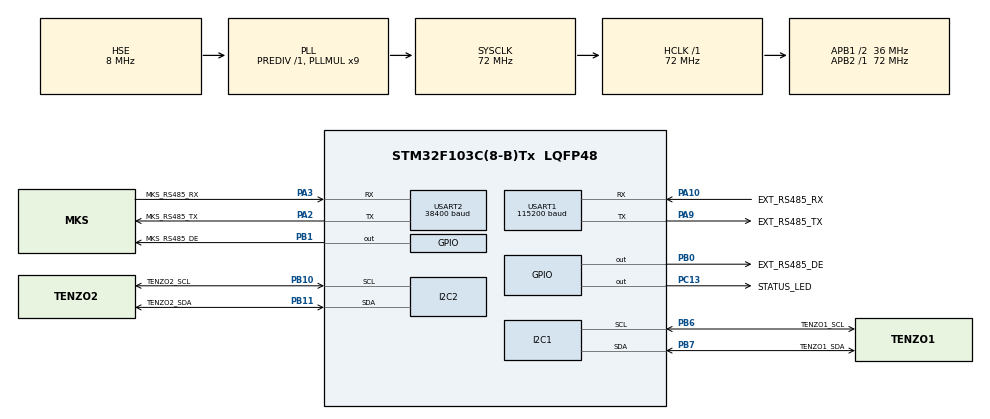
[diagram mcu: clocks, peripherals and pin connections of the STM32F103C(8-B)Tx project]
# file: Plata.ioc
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Mcu.Family=STM32F1
Mcu.Name=STM32F103C(8-B)Tx
Mcu.Package=LQFP48
NVIC.PriorityGroup=NVIC_PRIORITYGROUP_4
NVIC.USART1_IRQn=true\:0\:0\:false\:false\:true\:true\:true\:true
NVIC.USART2_IRQn=true\:0\:0\:false\:false\:true\:true\:true\:true
PA10.GPIO_Label=EXT_RS485_RX
PA10.Mode=Asynchronous
PA10.Signal=USART1_RX
PA2.GPIO_Label=MKS_RS485_TX
PA2.Mode=Asynchronous
PA2.Signal=USART2_TX
PA3.GPIO_Label=MKS_RS485_RX
PA3.Mode=Asynchronous
PA3.Signal=USART2_RX
PA9.GPIO_Label=EXT_RS485_TX
PA9.Mode=Asynchronous
PA9.Signal=USART1_TX
PB0.GPIO_Label=EXT_RS485_DE
PB0.Signal=GPIO_Output
PB1.GPIO_Label=MKS_RS485_DE
PB1.Signal=GPIO_Output
PB10.GPIO_Label=TENZO2_SCL
PB10.Mode=I2C
PB10.Signal=I2C2_SCL
PB11.GPIO_Label=TENZO2_SDA
PB11.Mode=I2C
PB11.Signal=I2C2_SDA
PB6.GPIO_Label=TENZO1_SCL
PB6.Mode=I2C
PB6.Signal=I2C1_SCL
PB7.GPIO_Label=TENZO1_SDA
PB7.Mode=I2C
PB7.Signal=I2C1_SDA
PC13-TAMPER-RTC.GPIO_Label=STATUS_LED
PC13-TAMPER-RTC.PinState=GPIO_PIN_SET
PC13-TAMPER-RTC.Signal=GPIO_Output
PD0-OSC_IN.Mode=HSE-External-Oscillator
PD0-OSC_IN.Signal=RCC_OSC_IN
PD1-OSC_OUT.Mode=HSE-External-Oscillator
PD1-OSC_OUT.Signal=RCC_OSC_OUT
ProjectManager.HeapSize=0x200
ProjectManager.StackSize=0x400
ProjectManager.TargetToolchain=STM32CubeIDE
RCC.AHBFreq_Value=72000000
RCC.APB1CLKDivider=RCC_HCLK_DIV2
RCC.APB1Freq_Value=36000000
RCC.APB1TimFreq_Value=72000000
RCC.APB2Freq_Value=72000000
RCC.APB2TimFreq_Value=72000000
RCC.HCLKFreq_Value=72000000
RCC.PLLMUL=RCC_PLL_MUL9
RCC.PLLSourceVirtual=RCC_PLLSOURCE_HSE
RCC.SYSCLKFreq_VALUE=72000000
RCC.SYSCLKSource=RCC_SYSCLKSOURCE_PLLCLK
RCC.USBFreq_Value=72000000
USART1.BaudRate=115200
USART1.VirtualMode=VM_ASYNC
USART2.BaudRate=38400
USART2.VirtualMode=VM_ASYNC
board=custom

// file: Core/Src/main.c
/* USER CODE BEGIN Header */
/**
  ******************************************************************************
  * @file           : main.c
  * @brief          : Основной файл программы
  ******************************************************************************
  * @attention
  *
  * Copyright (c) 2026 STMicroelectronics.
  * All rights reserved.
  *
  * This software is licensed under terms that can be found in the LICENSE file
  * in the root directory of this software component.
  * If no LICENSE file comes with this software, it is provided AS-IS.
  *
  ******************************************************************************
  */
/* USER CODE END Header */
/*
 * main.c — точка входа проекта Plata.
 *
 * Здесь выполняется:
 *   - инициализация HAL и тактирования 72 МГц (с fallback на HSE/HSI);
 *   - инициализация I2C1/I2C2, USART1/USART2 и GPIO;
 *   - настройка RS485 для внешнего терминала;
 *   - запуск приложения App_Init() и главный цикл App_Loop().
 *
 * Файл частично сгенерирован CubeMX. Пользовательский код находится
 * в секциях USER CODE BEGIN/END — при повторной генерации они сохраняются.
 */
#include "main.h"

/* USER CODE BEGIN Includes */
#include "plata.h"
/* USER CODE END Includes */

I2C_HandleTypeDef hi2c1;
I2C_HandleTypeDef hi2c2;

UART_HandleTypeDef huart1;
UART_HandleTypeDef huart2;

/* Настройка тактирования:
 *   1) HSE 8 МГц + PLL x9 = 72 МГц (основной вариант);
 *   2) HSE 8 МГц напрямую;
 *   3) HSI 8 МГц напрямую.
 * Fallback нужен для клонов STM32F103 с нестабильным кварцем. */
void SystemClock_Config(void);
/* Инициализация GPIO: светодиод PC13 и пины DE/RE обоих RS485. */
static void MX_GPIO_Init(void);
/* Инициализация I2C1 (NAU7802 №1), 100 кГц. */
static void MX_I2C1_Init(void);
/* Инициализация I2C2 (NAU7802 №2), 100 кГц. */
static void MX_I2C2_Init(void);
/* Инициализация USART1: внешний RS485, 115200 8N1. */
static void MX_USART1_UART_Init(void);
/* Инициализация USART2: MKS SERVO42D, 38400 8N1. */
static void MX_USART2_UART_Init(void);

/**
  * @brief  Точка входа приложения.
  * @retval int
  */
/* Главная функция: инициализация периферии и вечный цикл приложения. */
int main(void)
{

  /* MCU Configuration--------------------------------------------------------*/

  /* Сброс периферии, инициализация Flash-интерфейса и SysTick. */
  /* HAL_Init(): сброс периферии, настройка SysTick и Flash-интерфейса. */
  HAL_Init();

  /* Настройка системного тактирования. */
  /* 72 МГц через HSE+PLL, с fallback на HSE/HSI. */
  SystemClock_Config();

  /* Инициализация всех настроенных периферийных блоков. */
  /* Сначала GPIO: светодиод и DE/RE обоих RS485. */
  MX_GPIO_Init();
  /* I2C1 — первый NAU7802. */
  MX_I2C1_Init();
  /* I2C2 — второй NAU7802 (сейчас не подключён). */
  MX_I2C2_Init();
  /* USART1 — внешний RS485/CLI, 115200. */
  MX_USART1_UART_Init();
  /* USART2 — MKS SERVO42D, 38400. */
  MX_USART2_UART_Init();
  /* USER CODE BEGIN 2 */
  /* Запоминаем внешний UART и переводим его DE/RE в приём. */
  RS485_ExtInit(&huart1);
  /* Инициализация прикладного слоя: датчики, мотор, демо, CLI. */
  App_Init(&hi2c1, &hi2c2, &huart1, &huart2);
  /* USER CODE END 2 */

  /* Бесконечный цикл приложения. */
  while (1)
  {

    /* USER CODE BEGIN 3 */
    /* Внутри: JOG-автостоп, демо, потоки, CLI, LED. */
    App_Loop();
  }
  /* USER CODE END 3 */
}

/**
  * @brief Настройка системного тактирования
  * @retval Нет
  */
void SystemClock_Config(void)
{
  RCC_OscInitTypeDef RCC_OscInitStruct = {0};
  RCC_ClkInitTypeDef RCC_ClkInitStruct = {0};

  /*
   * 1. Основной вариант: HSE 8 МГц + PLL x9 = 72 МГц.
   * 2. Если HSE/PLL не запустились: HSE 8 МГц напрямую.
   * 3. Если HSE нет: HSI 8 МГц напрямую.
   *
   * Fallback важен для клонов F103C8T6 с нестабильным кварцем.
   */
  /* Основной вариант: HSE 8 МГц, PLL ×9 = 72 МГц. */
  RCC_OscInitStruct.OscillatorType = RCC_OSCILLATORTYPE_HSE;
  RCC_OscInitStruct.HSEState = RCC_HSE_ON;
  RCC_OscInitStruct.HSEPredivValue = RCC_HSE_PREDIV_DIV1;
  RCC_OscInitStruct.HSIState = RCC_HSI_ON;
  RCC_OscInitStruct.PLL.PLLState = RCC_PLL_ON;
  RCC_OscInitStruct.PLL.PLLSource = RCC_PLLSOURCE_HSE;
  RCC_OscInitStruct.PLL.PLLMUL = RCC_PLL_MUL9;

  /* Если PLL запустился — настраиваем шины и Flash latency.
   * APB1 = 36 МГц (максимум для F103), APB2 = 72 МГц. */
  if (HAL_RCC_OscConfig(&RCC_OscInitStruct) == HAL_OK)
  {
    RCC_ClkInitStruct.ClockType = RCC_CLOCKTYPE_HCLK | RCC_CLOCKTYPE_SYSCLK |
                                  RCC_CLOCKTYPE_PCLK1 | RCC_CLOCKTYPE_PCLK2;
    RCC_ClkInitStruct.SYSCLKSource = RCC_SYSCLKSOURCE_PLLCLK;
    RCC_ClkInitStruct.AHBCLKDivider = RCC_SYSCLK_DIV1;
    RCC_ClkInitStruct.APB1CLKDivider = RCC_HCLK_DIV2;
    RCC_ClkInitStruct.APB2CLKDivider = RCC_HCLK_DIV1;

    if (HAL_RCC_ClockConfig(&RCC_ClkInitStruct, FLASH_LATENCY_2) == HAL_OK)
    {
      return;
    }
  }

  /* Если PLL не запустился, пробуем HSE 8 МГц без PLL. */
  /* Fallback 1: HSE 8 МГц напрямую */
  RCC_OscInitStruct = (RCC_OscInitTypeDef){0};
  RCC_OscInitStruct.OscillatorType = RCC_OSCILLATORTYPE_HSE;
  RCC_OscInitStruct.HSEState = RCC_HSE_ON;
  RCC_OscInitStruct.HSEPredivValue = RCC_HSE_PREDIV_DIV1;
  RCC_OscInitStruct.PLL.PLLState = RCC_PLL_NONE;

  if (HAL_RCC_OscConfig(&RCC_OscInitStruct) == HAL_OK)
  {
    RCC_ClkInitStruct = (RCC_ClkInitTypeDef){0};
    RCC_ClkInitStruct.ClockType = RCC_CLOCKTYPE_HCLK | RCC_CLOCKTYPE_SYSCLK |
                                  RCC_CLOCKTYPE_PCLK1 | RCC_CLOCKTYPE_PCLK2;
    RCC_ClkInitStruct.SYSCLKSource = RCC_SYSCLKSOURCE_HSE;
    RCC_ClkInitStruct.AHBCLKDivider = RCC_SYSCLK_DIV1;
    RCC_ClkInitStruct.APB1CLKDivider = RCC_HCLK_DIV1;
    RCC_ClkInitStruct.APB2CLKDivider = RCC_HCLK_DIV1;

    if (HAL_RCC_ClockConfig(&RCC_ClkInitStruct, FLASH_LATENCY_0) == HAL_OK)
    {
      return;
    }
  }

  /* Последний вариант — внутренний HSI 8 МГц. */
  /* Fallback 2: HSI 8 МГц напрямую */
  RCC_OscInitStruct = (RCC_OscInitTypeDef){0};
  RCC_OscInitStruct.OscillatorType = RCC_OSCILLATORTYPE_HSI;
  RCC_OscInitStruct.HSIState = RCC_HSI_ON;
  RCC_OscInitStruct.PLL.PLLState = RCC_PLL_NONE;

  if (HAL_RCC_OscConfig(&RCC_OscInitStruct) != HAL_OK)
  {
    Error_Handler();
  }

  RCC_ClkInitStruct = (RCC_ClkInitTypeDef){0};
  RCC_ClkInitStruct.ClockType = RCC_CLOCKTYPE_HCLK | RCC_CLOCKTYPE_SYSCLK |
                                RCC_CLOCKTYPE_PCLK1 | RCC_CLOCKTYPE_PCLK2;
  RCC_ClkInitStruct.SYSCLKSource = RCC_SYSCLKSOURCE_HSI;
  RCC_ClkInitStruct.AHBCLKDivider = RCC_SYSCLK_DIV1;
  RCC_ClkInitStruct.APB1CLKDivider = RCC_HCLK_DIV1;
  RCC_ClkInitStruct.APB2CLKDivider = RCC_HCLK_DIV1;

  if (HAL_RCC_ClockConfig(&RCC_ClkInitStruct, FLASH_LATENCY_0) != HAL_OK)
  {
    Error_Handler();
  }
}

/**
  * @brief Инициализация I2C1
  * @param Нет
  * @retval Нет
  */
static void MX_I2C1_Init(void)
{

  hi2c1.Instance = I2C1;
  hi2c1.Init.ClockSpeed = 100000;
  hi2c1.Init.DutyCycle = I2C_DUTYCYCLE_2;
  hi2c1.Init.OwnAddress1 = 0;
  hi2c1.Init.AddressingMode = I2C_ADDRESSINGMODE_7BIT;
  hi2c1.Init.DualAddressMode = I2C_DUALADDRESS_DISABLE;
  hi2c1.Init.OwnAddress2 = 0;
  hi2c1.Init.GeneralCallMode = I2C_GENERALCALL_DISABLE;
  hi2c1.Init.NoStretchMode = I2C_NOSTRETCH_DISABLE;
  if (HAL_I2C_Init(&hi2c1) != HAL_OK)
  {
    Error_Handler();
  }

}

/**
  * @brief Инициализация I2C2
  * @param Нет
  * @retval Нет
  */
static void MX_I2C2_Init(void)
{

  hi2c2.Instance = I2C2;
  hi2c2.Init.ClockSpeed = 100000;
  hi2c2.Init.DutyCycle = I2C_DUTYCYCLE_2;
  hi2c2.Init.OwnAddress1 = 0;
  hi2c2.Init.AddressingMode = I2C_ADDRESSINGMODE_7BIT;
  hi2c2.Init.DualAddressMode = I2C_DUALADDRESS_DISABLE;
  hi2c2.Init.OwnAddress2 = 0;
  hi2c2.Init.GeneralCallMode = I2C_GENERALCALL_DISABLE;
  hi2c2.Init.NoStretchMode = I2C_NOSTRETCH_DISABLE;
  if (HAL_I2C_Init(&hi2c2) != HAL_OK)
  {
    Error_Handler();
  }

}

/**
  * @brief Инициализация USART1
  * @param Нет
  * @retval Нет
  */
static void MX_USART1_UART_Init(void)
{

  huart1.Instance = USART1;
  huart1.Init.BaudRate = 115200;
  huart1.Init.WordLength = UART_WORDLENGTH_8B;
  huart1.Init.StopBits = UART_STOPBITS_1;
  huart1.Init.Parity = UART_PARITY_NONE;
  huart1.Init.Mode = UART_MODE_TX_RX;
  huart1.Init.HwFlowCtl = UART_HWCONTROL_NONE;
  huart1.Init.OverSampling = UART_OVERSAMPLING_16;
  if (HAL_UART_Init(&huart1) != HAL_OK)
  {
    Error_Handler();
  }

}

/**
  * @brief Инициализация USART2
  * @param Нет
  * @retval Нет
  */
static void MX_USART2_UART_Init(void)
{

  huart2.Instance = USART2;
  huart2.Init.BaudRate = 38400;
  huart2.Init.WordLength = UART_WORDLENGTH_8B;
  huart2.Init.StopBits = UART_STOPBITS_1;
  huart2.Init.Parity = UART_PARITY_NONE;
  huart2.Init.Mode = UART_MODE_TX_RX;
  huart2.Init.HwFlowCtl = UART_HWCONTROL_NONE;
  huart2.Init.OverSampling = UART_OVERSAMPLING_16;
  if (HAL_UART_Init(&huart2) != HAL_OK)
  {
    Error_Handler();
  }

}

/**
  * @brief Инициализация GPIO
  * @param Нет
  * @retval Нет
  */
static void MX_GPIO_Init(void)
{
  GPIO_InitTypeDef GPIO_InitStruct = {0};

  /* Включение тактирования портов GPIO. */
  /* Включаем тактирование портов, к которым подключены LED и DE. */
  __HAL_RCC_GPIOC_CLK_ENABLE();
  __HAL_RCC_GPIOD_CLK_ENABLE();
  __HAL_RCC_GPIOA_CLK_ENABLE();
  __HAL_RCC_GPIOB_CLK_ENABLE();

  /* Начальный уровень выходов GPIO. */
  /* PC13 активен низким уровнем: HIGH = светодиод погашен. */
  HAL_GPIO_WritePin(STATUS_LED_GPIO_Port, STATUS_LED_Pin, GPIO_PIN_SET);

  /* Начальный уровень выходов GPIO. */
  /* DE/RE = 0 — оба RS485 в режиме приёма. */
  HAL_GPIO_WritePin(GPIOB, EXT_RS485_DE_Pin|MKS_RS485_DE_Pin, GPIO_PIN_RESET);

  /* Светодиод статуса PC13 — выход push-pull. */
  GPIO_InitStruct.Pin = STATUS_LED_Pin;
  GPIO_InitStruct.Mode = GPIO_MODE_OUTPUT_PP;
  GPIO_InitStruct.Pull = GPIO_NOPULL;
  GPIO_InitStruct.Speed = GPIO_SPEED_FREQ_LOW;
  HAL_GPIO_Init(STATUS_LED_GPIO_Port, &GPIO_InitStruct);

  /* Пины DE/RE внешнего и моторного RS485 — выходы push-pull. */
  GPIO_InitStruct.Pin = EXT_RS485_DE_Pin|MKS_RS485_DE_Pin;
  GPIO_InitStruct.Mode = GPIO_MODE_OUTPUT_PP;
  GPIO_InitStruct.Pull = GPIO_NOPULL;
  GPIO_InitStruct.Speed = GPIO_SPEED_FREQ_LOW;
  HAL_GPIO_Init(GPIOB, &GPIO_InitStruct);

}

/* USER CODE BEGIN 4 */
static UART_HandleTypeDef *ext_uart = NULL;

/* Короткая задержка перед поднятием DE, чтобы передатчик успел
 * переключиться. Реализована через NOP, без блокирующего HAL_Delay. */
static void rs485_de_setup_delay(void)
{
  volatile uint32_t i;

  for (i = 0U; i < 2000U; i++)
  {
    __NOP();
  }
}

/* Запоминает UART внешнего RS485 и переводит DE/RE в приём. */
void RS485_ExtInit(UART_HandleTypeDef *huart)
{
  ext_uart = huart;
  HAL_GPIO_WritePin(EXT_RS485_DE_GPIO_Port, EXT_RS485_DE_Pin, GPIO_PIN_RESET);
}

/* Передача по RS485 с управлением DE/RE:
 *   - для внешнего USART1 на время передачи отключается RX-прерывание,
 *     чтобы приёмник SP3485 не ловил собственный сигнал;
 *   - DE поднимается, данные отправляются, ждём TC, DE опускается. */
HAL_StatusTypeDef RS485_Transmit(UART_HandleTypeDef *huart,
                                 GPIO_TypeDef *de_port,
                                 uint16_t de_pin,
                                 const uint8_t *data,
                                 uint16_t len,
                                 uint32_t timeout)
{
  HAL_StatusTypeDef status;
  uint32_t start;
  /* Для внешнего USART1 нужно на время передачи отключить RX-прерывание:
   * приёмник SP3485 в режиме передачи отключён, и PA10 может «висеть». */
  uint8_t is_ext = (huart != NULL && huart->Instance == USART1) ? 1U : 0U;

  if (huart == NULL || data == NULL || len == 0U)
  {
    return HAL_ERROR;
  }

  /*
   * Внешний RS485: на время передачи отключаем RX-прерывание USART1.
   * Приёмник SP3485 в режиме передачи отключён, поэтому PA10 может «висеть».
   */
  /* Отключаем прерывание приёма только для внешнего RS485. */
  if (is_ext)
  {
    HAL_NVIC_DisableIRQ(USART1_IRQn);
  }

  /* DE=1 — включаем передатчик RS485. */
  HAL_GPIO_WritePin(de_port, de_pin, GPIO_PIN_SET);
  rs485_de_setup_delay(); /* короткая задержка DE, без блокирующего 1 мс */

  /* HAL_UART_Transmit блокирующий: кладёт байты в DR и ждёт отправки. */
  status = HAL_UART_Transmit(huart, (uint8_t *)data, len, timeout);

  start = HAL_GetTick();
  /* Ждём TC (transmission complete), чтобы опустить DE после
   * последнего бита, а не после записи в DR. */
  while (__HAL_UART_GET_FLAG(huart, UART_FLAG_TC) == RESET)
  {
    if ((HAL_GetTick() - start) > timeout)
    {
      status = HAL_TIMEOUT;
      break;
    }
  }

  /* DE=0 — снова приём. */
  HAL_GPIO_WritePin(de_port, de_pin, GPIO_PIN_RESET);

  /* Возвращаем прерывание приёма внешнего RS485. */
  if (is_ext)
  {
    HAL_NVIC_EnableIRQ(USART1_IRQn);
  }

  return status;
}

/* Отправка данных во внешний RS485 (USART1). */
HAL_StatusTypeDef RS485_ExtSend(const uint8_t *data, uint16_t len)
{
  if (ext_uart == NULL)
  {
    return HAL_ERROR;
  }

  return RS485_Transmit(ext_uart,
                        EXT_RS485_DE_GPIO_Port,
                        EXT_RS485_DE_Pin,
                        data,
                        len,
                        100U);
}

/* Перенаправление newlib printf/puts во внешний RS485. */
/* Перенаправление printf/puts в внешний RS485 (newlib). */
/* newlib вызывает _write для printf/puts. Перенаправляем всё
 * в RS485_ExtSend, чтобы printf уходил в терминал. */
int _write(int file, char *ptr, int len)
{
  (void)file;

  if (ptr == NULL || len <= 0)
  {
    return 0;
  }

  /* Если RS485 не принял данные — возвращаем -1, как требует newlib. */
  if (RS485_ExtSend((const uint8_t *)ptr, (uint16_t)len) != HAL_OK)
  {
    return -1;
  }

  return len;
}
/* USER CODE END 4 */

/**
  * @brief  Вызывается при возникновении ошибки.
  * @retval Нет
  */
/* Аварийный обработчик: зажигает LED и останавливает выполнение. */
void Error_Handler(void)
{
  /* USER CODE BEGIN Error_Handler_Debug */
  /* Светодиод PC13 активен низким уровнем: включить и остаться здесь */
  HAL_GPIO_WritePin(STATUS_LED_GPIO_Port, STATUS_LED_Pin, GPIO_PIN_RESET);
  __disable_irq();
  while (1)
  {
  }
  /* USER CODE END Error_Handler_Debug */
}
#ifdef USE_FULL_ASSERT
/**
  * @brief  Сообщает имя файла и номер строки, где произошла ошибка assert_param.
  * @param  file: указатель на имя файла
  * @param  line: номер строки с ошибкой assert_param
  * @retval Нет
  */
void assert_failed(uint8_t *file, uint32_t line)
{
  /* USER CODE BEGIN 6 */
  /* Здесь можно выводить имя файла и номер строки при ошибке assert. */
  /* USER CODE END 6 */
}
#endif /* USE_FULL_ASSERT */
